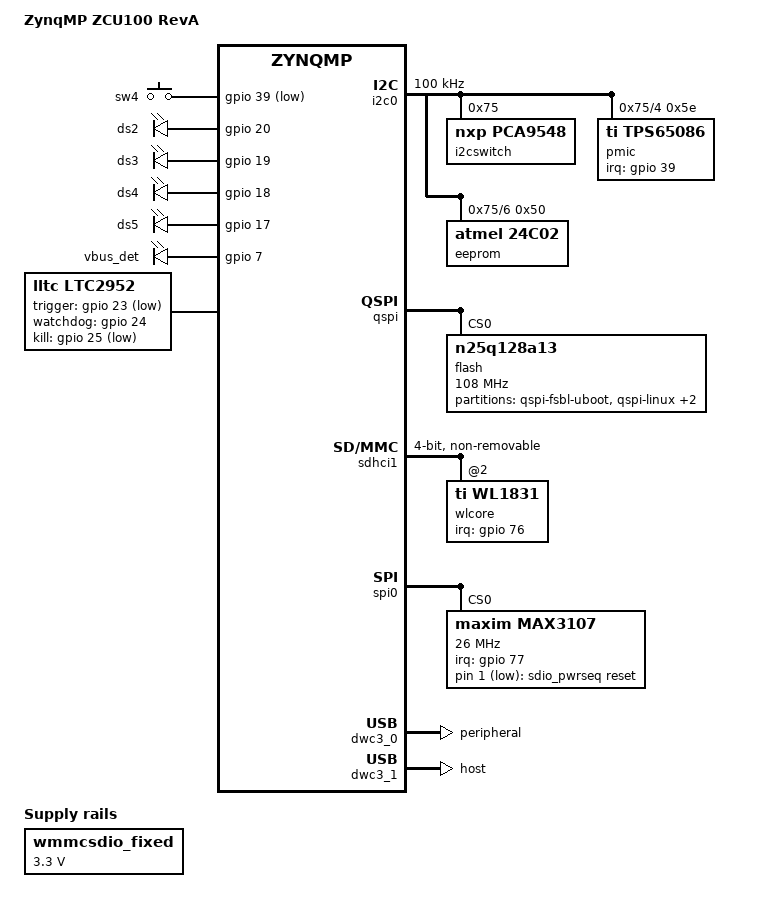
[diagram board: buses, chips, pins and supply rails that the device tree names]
/ {
	model = "ZynqMP ZCU100 RevA";
	compatible = "xlnx,zynqmp-zcu100-revA", "xlnx,zynqmp-zcu100", "xlnx,zynqmp";

	gpio-keys {
		compatible = "gpio-keys";
		#address-cells = <1>;
		#size-cells = <0>;
		autorepeat;
		sw4 {
			label = "sw4";
			gpios = <&gpio 39 1>; /* shared with pmic IRQ */ /* uboot: gpio input 39 */
			linux,code = <108>; /* down */
			gpio-key,wakeup;
			autorepeat;
		};
	};

	leds {
		compatible = "gpio-leds";
		ds2 {
			label = "ds2";
			gpios = <&gpio 20 0>; /* uboot: gpio toggle 20 */
			linux,default-trigger = "heartbeat";
		};

		ds3 {
			label = "ds3";
			gpios = <&gpio 19 0>;
			linux,default-trigger = "phy0tx"; /* WLAN tx */
			default-state = "off";
		};

		ds4 {
			label = "ds4";
			gpios = <&gpio 18 0>;
			linux,default-trigger = "phy0rx"; /* WLAN rx */
			default-state = "off";
		};

		ds5 {
			label = "ds5";
			gpios = <&gpio 17 0>;
		};

		/* FIXME this is not correct - used fixed-regulator for it */
		vbus_det { /* U5 USB5744  VBUS detection via MIO7 */
			label = "vbus_det";
			gpios = <&gpio 7 0>;
			default-state = "on";
		};
	};

	clk3_6: clk3_6 { /* for spi uart max3107 */
		compatible = "fixed-clock";
		#clock-cells = <0>;
		clock-frequency = <3600000>;
	};

	ltc2952: ltc2952 { /* U7 */
		compatible = "lltc,ltc2952";
		trigger-gpios = <&gpio 23 1>; /* INT line - input */
		watchdog-gpios = <&gpio 24 0>; /* FIXME Bogus - set it up to max3107 */
		kill-gpios = <&gpio 25 1>; /* KILL signal - output */
	};

	wmmcsdio_fixed: fixedregulator-mmcsdio {
		compatible = "regulator-fixed";
		regulator-name = "wmmcsdio_fixed";
		regulator-min-microvolt = <3300000>;
		regulator-max-microvolt = <3300000>;
		regulator-always-on;
		regulator-boot-on;
	};

	sdio_pwrseq: sdio_pwrseq {
		compatible = "mmc-pwrseq-simple";
		reset-gpios = <&max3107 1 1>; /* WIFI_EN */
	};
};

&i2c0 {
	clock-frequency = <100000>;
	i2cswitch@75 { /* u11 */
		compatible = "nxp,pca9548";
		#address-cells = <1>;
		#size-cells = <0>;
		reg = <0x75>;
		i2csw_0: i2c@0 { /* i2c mw 75 0 1 */
			#address-cells = <1>;
			#size-cells = <0>;
			reg = <0>;
			/*
			 * LSEXP_I2C0
			 */
		};
		i2csw_1: i2c@1 { /* i2c mw 75 0 2 */
			#address-cells = <1>;
			#size-cells = <0>;
			reg = <1>;
			/*
			 * LSEXP_I2C1
			 */
		};
		i2csw_2: i2c@2 { /* i2c mw 75 0 4 */
			#address-cells = <1>;
			#size-cells = <0>;
			reg = <2>;
			/*
			 * HSEXP_I2C2
			 */
		};
		i2csw_3: i2c@3 { /* i2c mw 75 0 8 */
			#address-cells = <1>;
			#size-cells = <0>;
			reg = <3>;
			/*
			 * HSEXP_I2C3
			 */
		};
		i2csw_4: i2c@4 { /* i2c mw 75 0 10 */
			#address-cells = <1>;
			#size-cells = <0>;
			reg = <0x4>;

			/* Comment it out because will be pre-programmed
			   at the factory */

			pmic: tps65086x@5e { // Custom TI PMIC u33
				compatible = "ti,tps65086";
				reg = <0x5e>;
				interrupt-parent = <&gpio>;
				interrupts = <39 1>; /* shared with pmic IRQ */
				#gpio-cells = <2>;
				gpio-controller;

/*
				sys-supply = <&some_reg>;
				// spec 12V

				buck1 5V0
				buck2 PSINTLP (no idea)
				buck3 VCC_PSDDR 1V1
				buck4 3V3
				buck5 1V2
				buck6 VCC_PSAUX 1V8

				vin-sm0-supply = <&some_reg>;
				vin-sm1-supply = <&some_reg>;
				vin-sm2-supply = <&some_reg>;
				vinldo01-supply = <...>;
				vinldo23-supply = <...>;
				vinldo4-supply = <...>;
				vinldo678-supply = <...>;
				vinldo9-supply = <...>;

				regulators {
					sys_reg: sys {
					        regulator-name = "vdd_sys";
					        regulator-boot-on;
					        regulator-always-on;
					};

					sm0_reg: sm0 {
					        regulator-min-microvolt = < 725000>;
					        regulator-max-microvolt = <1500000>;
					        regulator-boot-on;
					        regulator-always-on;
					};

					sm1_reg: sm1 {
					        regulator-min-microvolt = < 725000>;
					        regulator-max-microvolt = <1500000>;
					        regulator-boot-on;
					        regulator-always-on;
					};

					sm2_reg: sm2 {
					        regulator-min-microvolt = <3000000>;
					        regulator-max-microvolt = <4550000>;
					        regulator-boot-on;
					        regulator-always-on;
					};

					ldo0_reg: ldo0 {
					        regulator-name = "PCIE CLK";
					        regulator-min-microvolt = <3300000>;
					        regulator-max-microvolt = <3300000>;
					};

					ldo1_reg: ldo1 {
					        regulator-min-microvolt = < 725000>;
					        regulator-max-microvolt = <1500000>;
					};

					ldo2_reg: ldo2 {
					        regulator-min-microvolt = < 725000>;
					        regulator-max-microvolt = <1500000>;
					};

					ldo3_reg: ldo3 {
					        regulator-min-microvolt = <1250000>;
					        regulator-max-microvolt = <3300000>;
					};

					ldo4_reg: ldo4 {
					        regulator-min-microvolt = <1700000>;
					        regulator-max-microvolt = <2475000>;
					};

					ldo5_reg: ldo5 {
					        regulator-min-microvolt = <1250000>;
					        regulator-max-microvolt = <3300000>;
					};

					ldo6_reg: ldo6 {
					        regulator-min-microvolt = <1250000>;
					        regulator-max-microvolt = <3300000>;
					};

					ldo7_reg: ldo7 {
					        regulator-min-microvolt = <1250000>;
					        regulator-max-microvolt = <3300000>;
					};

					ldo8_reg: ldo8 {
					        regulator-min-microvolt = <1250000>;
					        regulator-max-microvolt = <3300000>;
					};

					ldo9_reg: ldo9 {
					        regulator-min-microvolt = <1250000>;
					        regulator-max-microvolt = <3300000>;
					};

				// FIXME look at this one
					ldo_rtc {
						regulator-name = "vdd_rtc_out,vdd_cell";
						regulator-min-microvolt = <3300000>;
						regulator-max-microvolt = <3300000>;
						regulator-always-on;
					};
				};
				*/
			};
		};
		i2csw_5: i2c@5 { /* i2c mw 75 0 20 */
			#address-cells = <1>;
			#size-cells = <0>;
			reg = <5>;
			/*
			 * SYSMON
			 */
		};
		i2csw_6: i2c@6 { /* i2c mw 75 0 40 */
			#address-cells = <1>;
			#size-cells = <0>;
			reg = <6>;
			/*
			 * EEPROM with globally unique ID (will provide MAC address)
			 */
			eeprom@50 { /* u35 - 24aa02E48T */
				compatible = "atmel,24c02"; /* 8 blocks 50-57 - works */
				reg = <0x50>; /* low 3 bits: don't care */
			};
		};
		i2csw_7: i2c@7 { /* i2c mw 75 0 80 */
			#address-cells = <1>;
			#size-cells = <0>;
			reg = <7>;
			/*
			 * usb5744 - U5
			 * 100kHz - this is default freq for us
			 */
			/* FIXME 0x2c 0x2d - disabled because of SMBUS */
		};
	};
};

&qspi {
	flash@0 { /* single x4 - 16 MB flash at U13 */
		compatible = "n25q128a13", "jedec,spi-nor";
		#address-cells = <1>;
		#size-cells = <1>;
		reg = <0x0>;
		spi-tx-bus-width = <1>;
		spi-rx-bus-width = <4>;
		spi-max-frequency = <108000000>; /* Based on DC1 spec */
		partition@qspi-fsbl-uboot { /* for testing purpose */
			label = "qspi-fsbl-uboot";
			reg = <0x0 0x100000>;
		};
		partition@qspi-linux { /* for testing purpose */
			label = "qspi-linux";
			reg = <0x100000 0x500000>;
		};
		partition@qspi-device-tree { /* for testing purpose */
			label = "qspi-device-tree";
			reg = <0x600000 0x20000>;
		};
		partition@qspi-rootfs { /* for testing purpose */
			label = "qspi-rootfs";
			reg = <0x620000 0x9E0000>;
		};
	};
};

/* SD0 only supports 3.3V, no level shifter */
&sdhci0 {
	no-1-8-v;
	broken-cd; /* CD has to be enabled by default */
	disable-wp;
};

&sdhci1 {
	bus-width = <0x4>;
	xlnx,mio_bank = <0>;
	non-removable;
	disable-wp;
	cap-power-off-card;
	mmc-pwrseq = <&sdio_pwrseq>;
	max-frequency = <16000000>;
	vqmmc-supply = <&wmmcsdio_fixed>;
	#address-cells = <1>;
	#size-cells = <0>;
	wlcore: wlcore@2 {
		compatible = "ti,wl1831";
		reg = <2>;
		interrupt-parent = <&gpio>;
		interrupts = <76 1>; /* MIO76 WLAN_IRQ 1V8 */
	};
};

&spi0 {
	max3107: max3107@0 { /* I'm assuming no offset...? */
		compatible = "maxim,max3107";
		spi-max-frequency = <26000000>;
		reg = <0>;
		interrupt-parent = <&gpio>;
		interrupts = <77 8>;
		clocks = <&clk3_6>;
		clock-names = "osc";
		gpio-controller;
		#gpio-cells = <2>;
	};
};

&dwc3_0 {
	dr_mode = "peripheral";
/*	phy-names = "usb3-phy";
	phys = <&lane2 PHY_TYPE_USB3 0 0 26000000>; */
	maximum-speed = "high-speed"; /* super-speed */
};

&dwc3_1 {
	dr_mode = "host";
/*	phy-names = "usb3-phy";
	phys = <&lane3 PHY_TYPE_USB3 1 0 26000000>; */
	maximum-speed = "high-speed"; /* super-speed */
};
